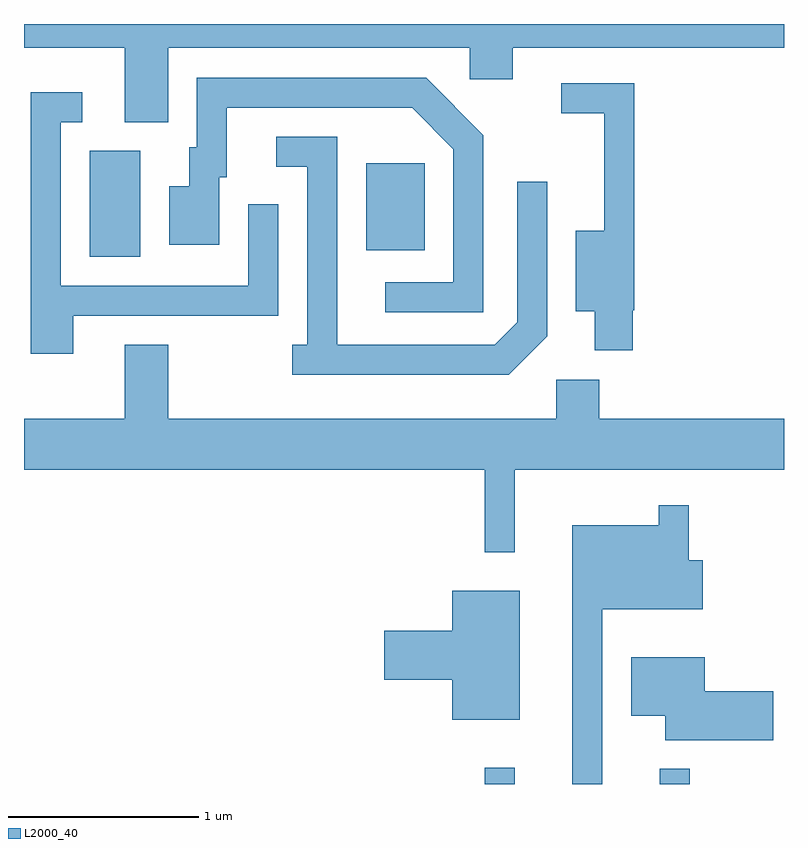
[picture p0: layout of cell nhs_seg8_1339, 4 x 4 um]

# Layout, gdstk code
import gdstk
lib = gdstk.Library(unit=1e-6, precision=1e-09)
def R(c, l, rs):  # rectangles x0, y0, x1, y1
    for r in rs: c.add(gdstk.rectangle(r[:2], r[2:], *l))
def P(c, l, *ps):  # polygons
    for p in ps: c.add(gdstk.Polygon(p, *l))
L2000_40 = (2000, 40)

nhs_seg8_1339 = lib.new_cell('nhs_seg8_1339')
R(nhs_seg8_1339, L2000_40, [(228.036,1810.342,228.194,1810.428), (228.956,1810.342,229.114,1810.423), (225.956,1813.116,226.224,1813.674), (227.411,1813.151,227.719,1813.609)])
P(nhs_seg8_1339, L2000_40, [(226.369,1814.216),(227.956,1814.216),(227.956,1814.051),(228.184,1814.051),(228.184,1814.216),(229.611,1814.216),(229.611,1814.342),(225.611,1814.342),(225.611,1814.216),(226.141,1814.216),(226.141,1813.826),(226.369,1813.826)],
  [(228.029,1813.757),(227.727,1814.059),(226.521,1814.059),(226.521,1813.694),(226.481,1813.694),(226.481,1813.489),(226.376,1813.489),(226.376,1813.181),(226.639,1813.181),(226.639,1813.536),(226.679,1813.536),(226.679,1813.901),(227.654,1813.901),(227.871,1813.684),(227.871,1812.984),(227.513,1812.984),(227.513,1812.826),(228.029,1812.826)],
  [(228.814,1812.835),(228.824,1812.835),(228.824,1814.029),(228.438,1814.029),(228.438,1813.871),(228.666,1813.871),(228.666,1813.254),(228.516,1813.254),(228.516,1812.831),(228.616,1812.831),(228.616,1812.626),(228.814,1812.626)],
  [(225.869,1812.806),(226.949,1812.806),(226.949,1813.393),(226.791,1813.393),(226.791,1812.964),(225.804,1812.964),(225.804,1813.826),(225.918,1813.826),(225.918,1813.984),(225.646,1813.984),(225.646,1812.606),(225.869,1812.606)],
  [(228.364,1812.699),(228.364,1813.513),(228.206,1813.513),(228.206,1812.772),(228.089,1812.654),(227.259,1812.654),(227.259,1813.749),(226.938,1813.749),(226.938,1813.591),(227.101,1813.591),(227.101,1812.654),(227.023,1812.654),(227.023,1812.496),(228.162,1812.496)],
  [(228.194,1811.996),(229.611,1811.996),(229.611,1812.264),(228.639,1812.264),(228.639,1812.469),(228.411,1812.469),(228.411,1812.264),(226.369,1812.264),(226.369,1812.654),(226.141,1812.654),(226.141,1812.264),(225.611,1812.264),(225.611,1811.996),(228.036,1811.996),(228.036,1811.563),(228.194,1811.563)],
  [(228.654,1811.261),(229.184,1811.261),(229.184,1811.519),(229.109,1811.519),(229.109,1811.808),(228.951,1811.808),(228.951,1811.704),(228.496,1811.704),(228.496,1810.342),(228.654,1810.342)],
  [(228.219,1811.359),(227.866,1811.359),(227.866,1811.149),(227.506,1811.149),(227.506,1810.891),(227.866,1810.891),(227.866,1810.681),(228.219,1810.681)],
  [(229.554,1810.829),(229.194,1810.829),(229.194,1811.009),(228.806,1811.009),(228.806,1810.701),(228.986,1810.701),(228.986,1810.571),(229.554,1810.571)])

lib.write_gds('nhs_seg8_1339.gds')
